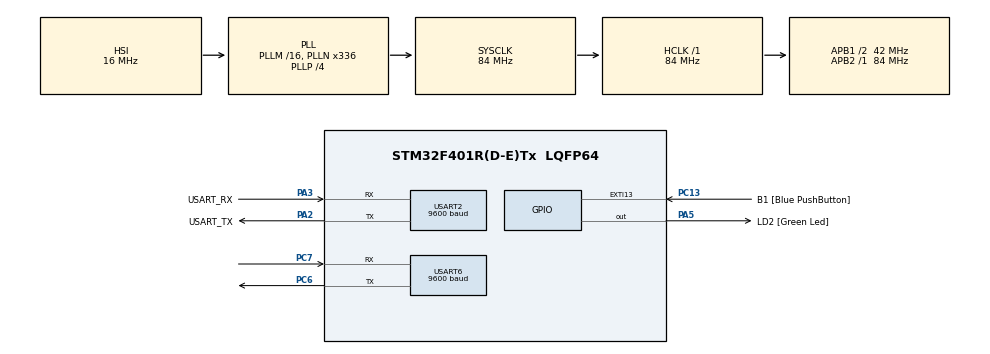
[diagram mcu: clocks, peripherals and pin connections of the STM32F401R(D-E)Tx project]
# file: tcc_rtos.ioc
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Mcu.Family=STM32F4
Mcu.Name=STM32F401R(D-E)Tx
Mcu.Package=LQFP64
NVIC.PriorityGroup=NVIC_PRIORITYGROUP_4
PA13.GPIO_Label=TMS
PA13.Mode=Serial_Wire
PA13.Signal=SYS_JTMS-SWDIO
PA14.GPIO_Label=TCK
PA14.Mode=Serial_Wire
PA14.Signal=SYS_JTCK-SWCLK
PA2.GPIO_Label=USART_TX
PA2.GPIO_Mode=GPIO_MODE_AF_PP
PA2.GPIO_PuPd=GPIO_NOPULL
PA2.GPIO_Speed=GPIO_SPEED_FREQ_LOW
PA2.Mode=Asynchronous
PA2.Signal=USART2_TX
PA3.GPIO_Label=USART_RX
PA3.GPIO_Mode=GPIO_MODE_AF_PP
PA3.GPIO_PuPd=GPIO_NOPULL
PA3.GPIO_Speed=GPIO_SPEED_FREQ_LOW
PA3.Mode=Asynchronous
PA3.Signal=USART2_RX
PA5.GPIO_Label=LD2 [Green Led]
PA5.GPIO_Mode=GPIO_MODE_OUTPUT_PP
PA5.GPIO_PuPd=GPIO_NOPULL
PA5.GPIO_Speed=GPIO_SPEED_FREQ_LOW
PA5.Signal=GPIO_Output
PB3.GPIO_Label=SWO
PB3.Signal=SYS_JTDO-SWO
PC13-ANTI_TAMP.GPIO_Label=B1 [Blue PushButton]
PC13-ANTI_TAMP.GPIO_ModeDefaultEXTI=GPIO_MODE_IT_FALLING
PC13-ANTI_TAMP.GPIO_PuPd=GPIO_NOPULL
PC13-ANTI_TAMP.Signal=GPXTI13
PC14-OSC32_IN.Mode=LSE-External-Oscillator
PC14-OSC32_IN.Signal=RCC_OSC32_IN
PC15-OSC32_OUT.Mode=LSE-External-Oscillator
PC15-OSC32_OUT.Signal=RCC_OSC32_OUT
PC6.Mode=Asynchronous
PC6.Signal=USART6_TX
PC7.Mode=Asynchronous
PC7.Signal=USART6_RX
PH0\ -\ OSC_IN.Mode=HSE-External-Clock-Source
PH0\ -\ OSC_IN.Signal=RCC_OSC_IN
PH1\ -\ OSC_OUT.Mode=HSE-External-Clock-Source
PH1\ -\ OSC_OUT.Signal=RCC_OSC_OUT
ProjectManager.HeapSize=0x200
ProjectManager.StackSize=0x400
ProjectManager.TargetToolchain=STM32CubeIDE
RCC.48MHZClocksFreq_Value=48000000
RCC.AHBFreq_Value=84000000
RCC.APB1CLKDivider=RCC_HCLK_DIV2
RCC.APB1Freq_Value=42000000
RCC.APB1TimFreq_Value=84000000
RCC.APB2Freq_Value=84000000
RCC.APB2TimFreq_Value=84000000
RCC.CortexFreq_Value=84000000
RCC.HCLKFreq_Value=84000000
RCC.HSE_VALUE=8000000
RCC.HSI_VALUE=16000000
RCC.PLLN=336
RCC.PLLP=RCC_PLLP_DIV4
RCC.PLLQ=7
RCC.SYSCLKFreq_VALUE=84000000
RCC.SYSCLKSource=RCC_SYSCLKSOURCE_PLLCLK
RCC.VCOOutputFreq_Value=336000000
USART2.BaudRate=9600
USART2.Parity=PARITY_ODD
USART2.VirtualMode=VM_ASYNC
USART6.BaudRate=9600
USART6.Mode=MODE_RX
USART6.Parity=PARITY_NONE
USART6.VirtualMode=VM_ASYNC
board=NUCLEO-F401RE

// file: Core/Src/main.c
/* USER CODE BEGIN Header */
/**
  ******************************************************************************
  * @file           : main.c
  * @brief          : Main program body
  ******************************************************************************
  * @attention
  *
  * <h2><center>&copy; Copyright (c) 2021 STMicroelectronics.
  * All rights reserved.</center></h2>
  *
  * This software component is licensed by ST under BSD 3-Clause license,
  * the "License"; You may not use this file except in compliance with the
  * License. You may obtain a copy of the License at:
  *                        opensource.org/licenses/BSD-3-Clause
  *
  ******************************************************************************
  */
/* USER CODE END Header */
#include "main.h"

/* USER CODE BEGIN Includes */
#include <string.h>
#include <stdio.h>
/* USER CODE END Includes */

UART_HandleTypeDef huart2;
UART_HandleTypeDef huart6;

/* USER CODE BEGIN PV */
#define BUFFER_LEN  1
uint8_t UART1_rxBuffer[10] = {0};
/* USER CODE END PV */

void SystemClock_Config(void);
static void MX_GPIO_Init(void);
static void MX_USART2_UART_Init(void);
static void MX_USART6_UART_Init(void);
/* USER CODE BEGIN PFP */
/* Private function prototypes -----------------------------------------------*/
#ifdef __GNUC__
  /* With GCC, small printf (option LD Linker->Libraries->Small printf
     set to 'Yes') calls __io_putchar() */
  #define PUTCHAR_PROTOTYPE int __io_putchar(int ch)
#else
  #define PUTCHAR_PROTOTYPE int fputc(int ch, FILE *f)
#endif /* __GNUC__ */
/* USER CODE END PFP */

int main(void)
{

  /* MCU Configuration--------------------------------------------------------*/

  /* Reset of all peripherals, Initializes the Flash interface and the Systick. */
  HAL_Init();

  /* Configure the system clock */
  SystemClock_Config();

  /* Initialize all configured peripherals */
  MX_GPIO_Init();
  MX_USART2_UART_Init();
  MX_USART6_UART_Init();
  /* USER CODE BEGIN 2 */
  printf("\n\r UART : printf function to the UART\n\r");

  /* USER CODE END 2 */

  /* Infinite loop */
  /* USER CODE BEGIN WHILE */
  while (1)
  {
	  HAL_UART_Receive (&huart6, UART1_rxBuffer, 9, 100);  // receive 1 bytes of data

	  if(UART1_rxBuffer == 0) {
		  HAL_GPIO_WritePin (GPIOA, GPIO_PIN_5, 1);  // toggle LED
	  } else {
		  HAL_GPIO_WritePin (GPIOA, GPIO_PIN_5, 0);  // toggle LED
	  }

    /* USER CODE END WHILE */

  }
}

void SystemClock_Config(void)
{
  RCC_OscInitTypeDef RCC_OscInitStruct = {0};
  RCC_ClkInitTypeDef RCC_ClkInitStruct = {0};

  /** Configure the main internal regulator output voltage
  */
  __HAL_RCC_PWR_CLK_ENABLE();
  __HAL_PWR_VOLTAGESCALING_CONFIG(PWR_REGULATOR_VOLTAGE_SCALE2);
  /** Initializes the RCC Oscillators according to the specified parameters
  * in the RCC_OscInitTypeDef structure.
  */
  RCC_OscInitStruct.OscillatorType = RCC_OSCILLATORTYPE_HSI;
  RCC_OscInitStruct.HSIState = RCC_HSI_ON;
  RCC_OscInitStruct.HSICalibrationValue = RCC_HSICALIBRATION_DEFAULT;
  RCC_OscInitStruct.PLL.PLLState = RCC_PLL_ON;
  RCC_OscInitStruct.PLL.PLLSource = RCC_PLLSOURCE_HSI;
  RCC_OscInitStruct.PLL.PLLM = 16;
  RCC_OscInitStruct.PLL.PLLN = 336;
  RCC_OscInitStruct.PLL.PLLP = RCC_PLLP_DIV4;
  RCC_OscInitStruct.PLL.PLLQ = 7;
  if (HAL_RCC_OscConfig(&RCC_OscInitStruct) != HAL_OK)
  {
    Error_Handler();
  }
  /** Initializes the CPU, AHB and APB buses clocks
  */
  RCC_ClkInitStruct.ClockType = RCC_CLOCKTYPE_HCLK|RCC_CLOCKTYPE_SYSCLK
                              |RCC_CLOCKTYPE_PCLK1|RCC_CLOCKTYPE_PCLK2;
  RCC_ClkInitStruct.SYSCLKSource = RCC_SYSCLKSOURCE_PLLCLK;
  RCC_ClkInitStruct.AHBCLKDivider = RCC_SYSCLK_DIV1;
  RCC_ClkInitStruct.APB1CLKDivider = RCC_HCLK_DIV2;
  RCC_ClkInitStruct.APB2CLKDivider = RCC_HCLK_DIV1;

  if (HAL_RCC_ClockConfig(&RCC_ClkInitStruct, FLASH_LATENCY_2) != HAL_OK)
  {
    Error_Handler();
  }
}

static void MX_USART2_UART_Init(void)
{

  huart2.Instance = USART2;
  huart2.Init.BaudRate = 9600;
  huart2.Init.WordLength = UART_WORDLENGTH_8B;
  huart2.Init.StopBits = UART_STOPBITS_1;
  huart2.Init.Parity = UART_PARITY_ODD;
  huart2.Init.Mode = UART_MODE_TX_RX;
  huart2.Init.HwFlowCtl = UART_HWCONTROL_NONE;
  huart2.Init.OverSampling = UART_OVERSAMPLING_16;
  if (HAL_UART_Init(&huart2) != HAL_OK)
  {
    Error_Handler();
  }

}

static void MX_USART6_UART_Init(void)
{

  huart6.Instance = USART6;
  huart6.Init.BaudRate = 9600;
  huart6.Init.WordLength = UART_WORDLENGTH_8B;
  huart6.Init.StopBits = UART_STOPBITS_1;
  huart6.Init.Parity = UART_PARITY_NONE;
  huart6.Init.Mode = UART_MODE_RX;
  huart6.Init.HwFlowCtl = UART_HWCONTROL_NONE;
  huart6.Init.OverSampling = UART_OVERSAMPLING_16;
  if (HAL_UART_Init(&huart6) != HAL_OK)
  {
    Error_Handler();
  }

}

static void MX_GPIO_Init(void)
{
  GPIO_InitTypeDef GPIO_InitStruct = {0};

  /* GPIO Ports Clock Enable */
  __HAL_RCC_GPIOC_CLK_ENABLE();
  __HAL_RCC_GPIOH_CLK_ENABLE();
  __HAL_RCC_GPIOA_CLK_ENABLE();
  __HAL_RCC_GPIOB_CLK_ENABLE();

  /*Configure GPIO pin Output Level */
  HAL_GPIO_WritePin(LD2_GPIO_Port, LD2_Pin, GPIO_PIN_RESET);

  /*Configure GPIO pin : B1_Pin */
  GPIO_InitStruct.Pin = B1_Pin;
  GPIO_InitStruct.Mode = GPIO_MODE_IT_FALLING;
  GPIO_InitStruct.Pull = GPIO_NOPULL;
  HAL_GPIO_Init(B1_GPIO_Port, &GPIO_InitStruct);

  /*Configure GPIO pin : LD2_Pin */
  GPIO_InitStruct.Pin = LD2_Pin;
  GPIO_InitStruct.Mode = GPIO_MODE_OUTPUT_PP;
  GPIO_InitStruct.Pull = GPIO_NOPULL;
  GPIO_InitStruct.Speed = GPIO_SPEED_FREQ_LOW;
  HAL_GPIO_Init(LD2_GPIO_Port, &GPIO_InitStruct);

}

/* USER CODE BEGIN 4 */
/**
  * @brief  Retargets the C library printf function to the USART.
  * @param  None
  * @retval None
  */
PUTCHAR_PROTOTYPE
{
  /* Place your implementation of fputc here */
  /* e.g. write a character to the EVAL_COM1 and Loop until the end of transmission */
  HAL_UART_Transmit(&huart2, (uint8_t *)&ch, 1, 0xFFFF);

  return ch;
}

void uart_bluetooth( char _out[]){
	HAL_UART_Transmit(&huart6, (uint8_t *) _out, strlen(_out), 10);
}

/* USER CODE END 4 */

void Error_Handler(void)
{
  __disable_irq();
  while (1)
  {
  }
}

/************************ (C) COPYRIGHT STMicroelectronics *****END OF FILE****/
